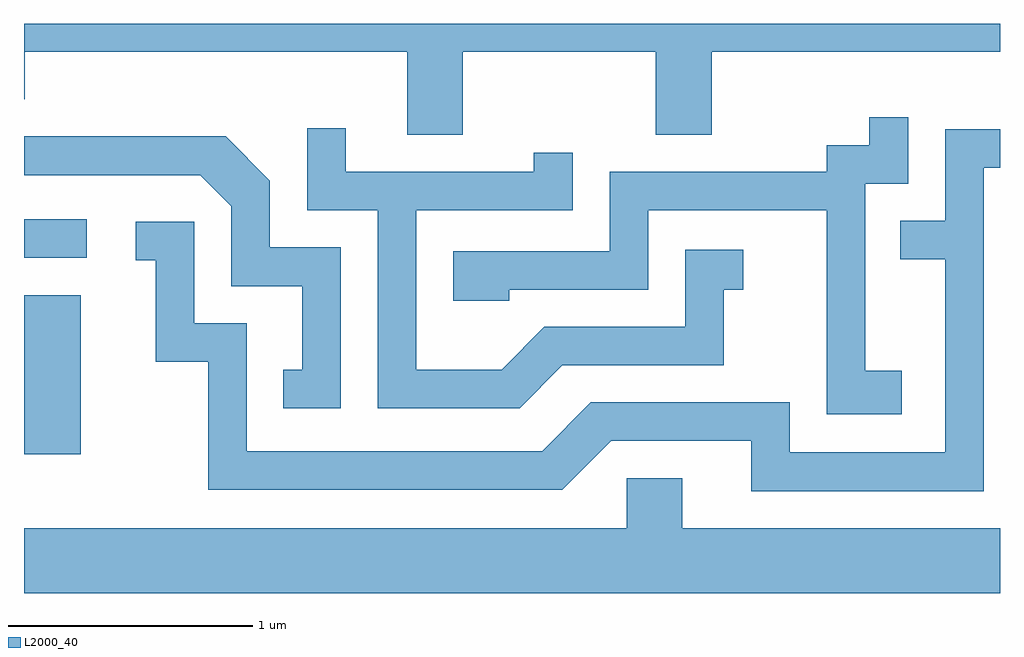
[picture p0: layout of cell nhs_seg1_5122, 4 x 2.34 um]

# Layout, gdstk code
import gdstk
lib = gdstk.Library(unit=1e-6, precision=1e-09)
def R(c, l, rs):  # rectangles x0, y0, x1, y1
    for r in rs: c.add(gdstk.rectangle(r[:2], r[2:], *l))
def P(c, l, *ps):  # polygons
    for p in ps: c.add(gdstk.Polygon(p, *l))
L2000_40 = (2000, 40)

nhs_seg1_5122 = lib.new_cell('nhs_seg1_5122')
R(nhs_seg1_5122, L2000_40, [(339.611,877.946,339.844,878.599), (339.611,878.751,339.868,878.909)])
P(nhs_seg1_5122, L2000_40, [(341.409,879.596),(342.201,879.596),(342.201,879.256),(342.429,879.256),(342.429,879.596),(343.611,879.596),(343.611,879.712),(339.611,879.712),(339.611,879.401),(339.614,879.401),(339.614,879.596),(341.181,879.596),(341.181,879.256),(341.409,879.256)],
  [(343.209,878.289),(343.059,878.289),(343.059,879.056),(343.234,879.056),(343.234,879.328),(343.076,879.328),(343.076,879.214),(342.901,879.214),(342.901,879.104),(342.011,879.104),(342.011,878.779),(341.371,878.779),(341.371,878.576),(341.599,878.576),(341.599,878.621),(342.169,878.621),(342.169,878.946),(342.901,878.946),(342.901,878.111),(343.209,878.111)],
  [(341.817,878.311),(342.479,878.311),(342.479,878.621),(342.558,878.621),(342.558,878.784),(342.321,878.784),(342.321,878.469),(341.744,878.469),(341.569,878.294),(341.219,878.294),(341.219,878.946),(341.859,878.946),(341.859,879.183),(341.701,879.183),(341.701,879.104),(340.929,879.104),(340.929,879.283),(340.771,879.283),(340.771,878.946),(341.061,878.946),(341.061,878.136),(341.642,878.136)],
  [(343.544,879.121),(343.611,879.121),(343.611,879.279),(343.386,879.279),(343.386,878.904),(343.203,878.904),(343.203,878.746),(343.386,878.746),(343.386,877.954),(342.749,877.954),(342.749,878.159),(341.934,878.159),(341.734,877.959),(340.524,877.959),(340.524,878.484),(340.309,878.484),(340.309,878.899),(340.068,878.899),(340.068,878.741),(340.151,878.741),(340.151,878.326),(340.366,878.326),(340.366,877.801),(341.817,877.801),(342.017,878.001),(342.591,878.001),(342.591,877.796),(343.544,877.796)],
  [(340.909,878.794),(340.619,878.794),(340.619,879.067),(340.437,879.249),(339.611,879.249),(339.611,879.091),(340.334,879.091),(340.461,878.964),(340.461,878.636),(340.751,878.636),(340.751,878.294),(340.673,878.294),(340.673,878.136),(340.909,878.136)],
  [(343.611,877.644),(342.309,877.644),(342.309,877.849),(342.081,877.849),(342.081,877.644),(339.611,877.644),(339.611,877.376),(343.611,877.376)])

lib.write_gds('nhs_seg1_5122.gds')
